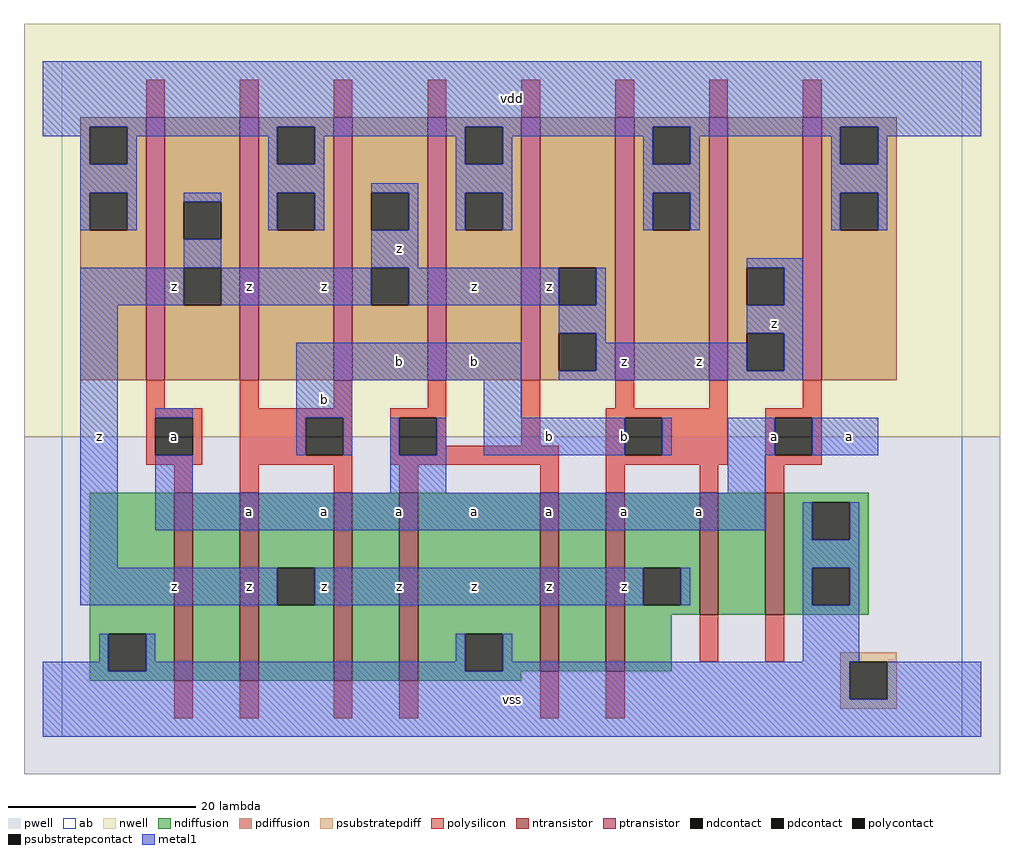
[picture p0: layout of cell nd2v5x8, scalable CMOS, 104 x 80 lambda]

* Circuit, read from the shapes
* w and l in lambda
.subckt nd2v5x8 a b vdd vss z
M1 n1 a vss vss nfet w=20 l=2
M2 z b n1 vss nfet w=20 l=2
M3 n2 b z vss nfet w=20 l=2
M4 vss a n2 vss nfet w=20 l=2
M5 n3 a vss vss nfet w=19 l=2
M6 z b n3 vss nfet w=19 l=2
M7 n4 b z vss nfet w=13 l=2
M8 vss a n4 vss nfet w=13 l=2
M9 z a vdd n5 pfet w=28 l=2 m=4
M10 vdd b z n5 pfet w=28 l=2 m=4
.ends

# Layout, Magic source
magic
tech scmos
<< ab >>
rect 0 0 96 72
<< pwell >>
rect -4 -4 100 32
<< nwell >>
rect -4 32 100 76
<< polysilicon >>
rect 9 66 11 70
rect 19 66 21 70
rect 29 66 31 70
rect 39 66 41 70
rect 49 66 51 70
rect 59 66 61 70
rect 69 66 71 70
rect 79 66 81 70
rect 9 35 11 38
rect 19 35 21 38
rect 29 35 31 38
rect 39 35 41 38
rect 9 34 15 35
rect 9 30 10 34
rect 14 30 15 34
rect 9 29 15 30
rect 19 34 31 35
rect 19 30 26 34
rect 30 30 31 34
rect 19 29 31 30
rect 35 34 41 35
rect 35 30 36 34
rect 40 31 41 34
rect 49 31 51 38
rect 59 35 61 38
rect 69 35 71 38
rect 79 35 81 38
rect 58 34 71 35
rect 40 30 53 31
rect 35 29 53 30
rect 12 26 14 29
rect 19 26 21 29
rect 29 26 31 29
rect 36 26 38 29
rect 51 26 53 29
rect 58 30 60 34
rect 64 30 71 34
rect 58 29 71 30
rect 75 34 81 35
rect 75 30 76 34
rect 80 30 81 34
rect 75 29 81 30
rect 58 26 60 29
rect 68 26 70 29
rect 75 26 77 29
rect 68 8 70 13
rect 75 8 77 13
rect 12 2 14 6
rect 19 2 21 6
rect 29 2 31 6
rect 36 2 38 6
rect 51 2 53 7
rect 58 2 60 7
<< ndiffusion >>
rect 3 11 12 26
rect 3 7 5 11
rect 9 7 12 11
rect 3 6 12 7
rect 14 6 19 26
rect 21 18 29 26
rect 21 14 23 18
rect 27 14 29 18
rect 21 6 29 14
rect 31 6 36 26
rect 38 11 51 26
rect 38 7 43 11
rect 47 7 51 11
rect 53 7 58 26
rect 60 18 68 26
rect 60 14 62 18
rect 66 14 68 18
rect 60 13 68 14
rect 70 13 75 26
rect 77 25 86 26
rect 77 21 80 25
rect 84 21 86 25
rect 77 18 86 21
rect 77 14 80 18
rect 84 14 86 18
rect 77 13 86 14
rect 60 7 65 13
rect 38 6 49 7
<< pdiffusion >>
rect 2 65 9 66
rect 2 61 3 65
rect 7 61 9 65
rect 2 58 9 61
rect 2 54 3 58
rect 7 54 9 58
rect 2 38 9 54
rect 11 57 19 66
rect 11 53 13 57
rect 17 53 19 57
rect 11 50 19 53
rect 11 46 13 50
rect 17 46 19 50
rect 11 38 19 46
rect 21 65 29 66
rect 21 61 23 65
rect 27 61 29 65
rect 21 58 29 61
rect 21 54 23 58
rect 27 54 29 58
rect 21 38 29 54
rect 31 58 39 66
rect 31 54 33 58
rect 37 54 39 58
rect 31 50 39 54
rect 31 46 33 50
rect 37 46 39 50
rect 31 38 39 46
rect 41 65 49 66
rect 41 61 43 65
rect 47 61 49 65
rect 41 58 49 61
rect 41 54 43 58
rect 47 54 49 58
rect 41 38 49 54
rect 51 50 59 66
rect 51 46 53 50
rect 57 46 59 50
rect 51 43 59 46
rect 51 39 53 43
rect 57 39 59 43
rect 51 38 59 39
rect 61 65 69 66
rect 61 61 63 65
rect 67 61 69 65
rect 61 58 69 61
rect 61 54 63 58
rect 67 54 69 58
rect 61 38 69 54
rect 71 50 79 66
rect 71 46 73 50
rect 77 46 79 50
rect 71 43 79 46
rect 71 39 73 43
rect 77 39 79 43
rect 71 38 79 39
rect 81 65 89 66
rect 81 61 83 65
rect 87 61 89 65
rect 81 58 89 61
rect 81 54 83 58
rect 87 54 89 58
rect 81 38 89 54
<< metal1 >>
rect -2 65 98 72
rect -2 64 3 65
rect 2 61 3 64
rect 7 64 23 65
rect 7 61 8 64
rect 2 58 8 61
rect 22 61 23 64
rect 27 64 43 65
rect 27 61 28 64
rect 22 58 28 61
rect 42 61 43 64
rect 47 64 63 65
rect 47 61 48 64
rect 2 54 3 58
rect 7 54 8 58
rect 13 57 17 58
rect 22 54 23 58
rect 27 54 28 58
rect 33 58 38 59
rect 37 54 38 58
rect 42 58 48 61
rect 42 54 43 58
rect 47 54 48 58
rect 62 61 63 64
rect 67 64 83 65
rect 67 61 68 64
rect 62 58 68 61
rect 62 54 63 58
rect 67 54 68 58
rect 82 61 83 64
rect 87 64 98 65
rect 87 61 88 64
rect 82 58 88 61
rect 82 54 83 58
rect 87 54 88 58
rect 13 50 17 53
rect 33 50 38 54
rect 73 50 79 51
rect 2 46 13 50
rect 17 46 33 50
rect 37 46 53 50
rect 57 46 58 50
rect 2 18 6 46
rect 53 43 58 46
rect 25 38 49 42
rect 57 42 58 43
rect 77 46 79 50
rect 73 43 79 46
rect 57 39 73 42
rect 77 39 79 43
rect 53 38 79 39
rect 10 34 14 35
rect 25 34 31 38
rect 45 34 49 38
rect 25 30 26 34
rect 30 30 31 34
rect 35 30 36 34
rect 40 30 41 34
rect 45 30 60 34
rect 64 30 65 34
rect 71 30 76 34
rect 80 30 87 34
rect 10 26 14 30
rect 35 26 41 30
rect 71 26 75 30
rect 10 22 75 26
rect 79 21 80 25
rect 84 21 85 25
rect 79 18 85 21
rect 2 14 23 18
rect 27 14 62 18
rect 66 14 67 18
rect 79 14 80 18
rect 84 14 85 18
rect 4 8 5 11
rect -2 7 5 8
rect 9 8 10 11
rect 42 8 43 11
rect 9 7 43 8
rect 47 8 48 11
rect 79 8 85 14
rect 47 7 84 8
rect -2 4 84 7
rect 88 4 98 8
rect -2 0 98 4
<< ntransistor >>
rect 12 6 14 26
rect 19 6 21 26
rect 29 6 31 26
rect 36 6 38 26
rect 51 7 53 26
rect 58 7 60 26
rect 68 13 70 26
rect 75 13 77 26
<< ptransistor >>
rect 9 38 11 66
rect 19 38 21 66
rect 29 38 31 66
rect 39 38 41 66
rect 49 38 51 66
rect 59 38 61 66
rect 69 38 71 66
rect 79 38 81 66
<< polycontact >>
rect 10 30 14 34
rect 26 30 30 34
rect 36 30 40 34
rect 60 30 64 34
rect 76 30 80 34
<< ndcontact >>
rect 5 7 9 11
rect 23 14 27 18
rect 43 7 47 11
rect 62 14 66 18
rect 80 21 84 25
rect 80 14 84 18
<< pdcontact >>
rect 3 61 7 65
rect 3 54 7 58
rect 13 53 17 57
rect 13 46 17 50
rect 23 61 27 65
rect 23 54 27 58
rect 33 54 37 58
rect 33 46 37 50
rect 43 61 47 65
rect 43 54 47 58
rect 53 46 57 50
rect 53 39 57 43
rect 63 61 67 65
rect 63 54 67 58
rect 73 46 77 50
rect 73 39 77 43
rect 83 61 87 65
rect 83 54 87 58
<< psubstratepcontact >>
rect 84 4 88 8
<< psubstratepdiff >>
rect 83 8 89 9
rect 83 4 84 8
rect 88 4 89 8
rect 83 3 89 4
<< labels >>
rlabel metal1 12 16 12 16 6 z
rlabel metal1 4 32 4 32 6 z
rlabel polycontact 12 32 12 32 6 a
rlabel metal1 12 48 12 48 6 z
rlabel metal1 28 16 28 16 6 z
rlabel metal1 20 16 20 16 6 z
rlabel metal1 20 24 20 24 6 a
rlabel metal1 28 24 28 24 6 a
rlabel metal1 28 36 28 36 6 b
rlabel metal1 20 48 20 48 6 z
rlabel metal1 28 48 28 48 6 z
rlabel metal1 48 4 48 4 6 vss
rlabel metal1 52 16 52 16 6 z
rlabel metal1 44 16 44 16 6 z
rlabel metal1 36 16 36 16 6 z
rlabel metal1 36 24 36 24 6 a
rlabel metal1 52 24 52 24 6 a
rlabel metal1 44 24 44 24 6 a
rlabel metal1 52 32 52 32 6 b
rlabel metal1 36 40 36 40 6 b
rlabel metal1 44 40 44 40 6 b
rlabel metal1 36 52 36 52 6 z
rlabel metal1 52 48 52 48 6 z
rlabel metal1 44 48 44 48 6 z
rlabel metal1 48 68 48 68 6 vdd
rlabel metal1 60 16 60 16 6 z
rlabel metal1 60 24 60 24 6 a
rlabel metal1 68 24 68 24 6 a
rlabel metal1 76 32 76 32 6 a
rlabel metal1 60 32 60 32 6 b
rlabel metal1 60 40 60 40 6 z
rlabel metal1 68 40 68 40 6 z
rlabel metal1 76 44 76 44 6 z
rlabel metal1 84 32 84 32 6 a
<< end >>
